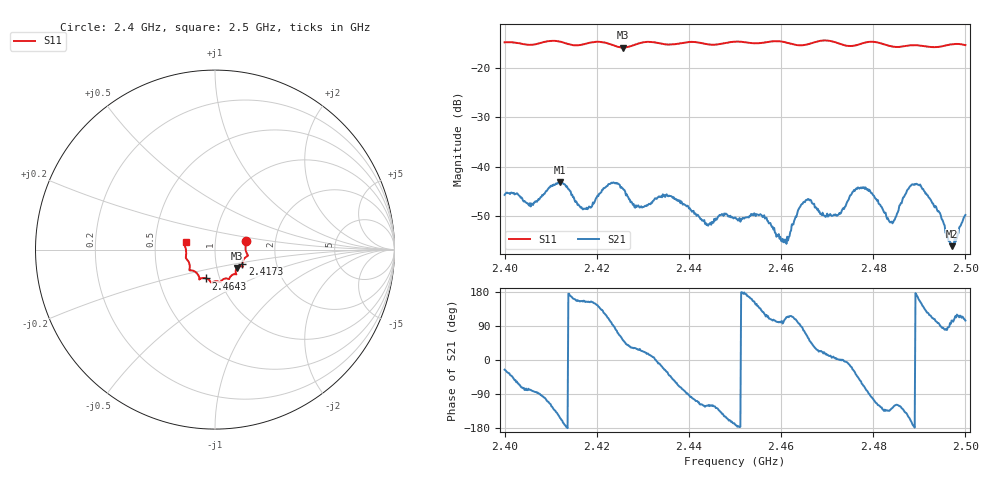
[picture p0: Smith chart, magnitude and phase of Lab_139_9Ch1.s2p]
# Hz S RI R 50
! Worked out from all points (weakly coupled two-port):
!   601 points, 2.4 GHz to 2.5 GHz, reference 50 ohm
!   highest |S21| = -43.13 dB at 2.412 GHz (marker M1); lowest = -56.0 dB at 2.497 GHz (marker M2)
!   lowest |S11| = -15.9 dB at 2.4257 GHz (marker M3), VSWR 1.38, Z = 62.4 - j13.1 ohm
!   |S11| at or under -10 dB: start of sweep to end of sweep
!   S12 and S22 are empty: the file has one direction only
!   S11 on the Smith chart (normalised r, x): 2.4 GHz: 1.41, +0.14; 2.4173 GHz: 1.34, -0.23; 2.4643 GHz: 0.86, -0.28; 2.5 GHz: 0.72, +0.06
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2.4e9  0.1732 0.0495  0.00468 -0.00224  0 0  0 0
2.405667e9  0.17 0.00485  0.000776 -0.00389  0 0  0 0
2.412e9  0.1798 -0.0365  -0.00618 -0.00323  0 0  0 0
2.416667e9  0.1529 -0.0748  -0.00354 0.00164  0 0  0 0
2.417333e9  0.1523 -0.0821  -0.00343 0.00154  0 0  0 0
2.423e9  0.1448 -0.0934  -0.00129 0.00663  0 0  0 0
2.425667e9  0.1225 -0.1024  0.00365 0.00477  0 0  0 0
2.428667e9  0.1155 -0.129  0.00344 0.0019  0 0  0 0
2.433333e9  0.1128 -0.1364  0.00486 -0.000789  0 0  0 0
2.444e9  0.0628 -0.1604  -0.00132 -0.00226  0 0  0 0
2.45e9  0.0298 -0.1807  -0.00303 -0.000543  0 0  0 0
2.455833e9  -0.00548 -0.1778  -0.00205 0.00248  0 0  0 0
2.460667e9  -0.0248 -0.1798  -0.00043 0.00167  0 0  0 0
2.464333e9  -0.0502 -0.1604  8.85e-05 0.00411  0 0  0 0
2.466667e9  -0.0761 -0.1598  0.00314 0.00299  0 0  0 0
2.4725e9  -0.0891 -0.1514  0.00328 6.76e-05  0 0  0 0
2.477833e9  -0.1339 -0.1159  0.00234 -0.00566  0 0  0 0
2.483333e9  -0.1407 -0.0896  -0.00199 -0.00209  0 0  0 0
2.489833e9  -0.1628 -0.0419  -0.0062 0.00217  0 0  0 0
2.494167e9  -0.162 0.000598  -0.000467 0.00354  0 0  0 0
2.497e9  -0.1701 0.0263  -0.000382 0.00153  0 0  0 0
2.5e9  -0.1636 0.042  -0.000795 0.00316  0 0  0 0
